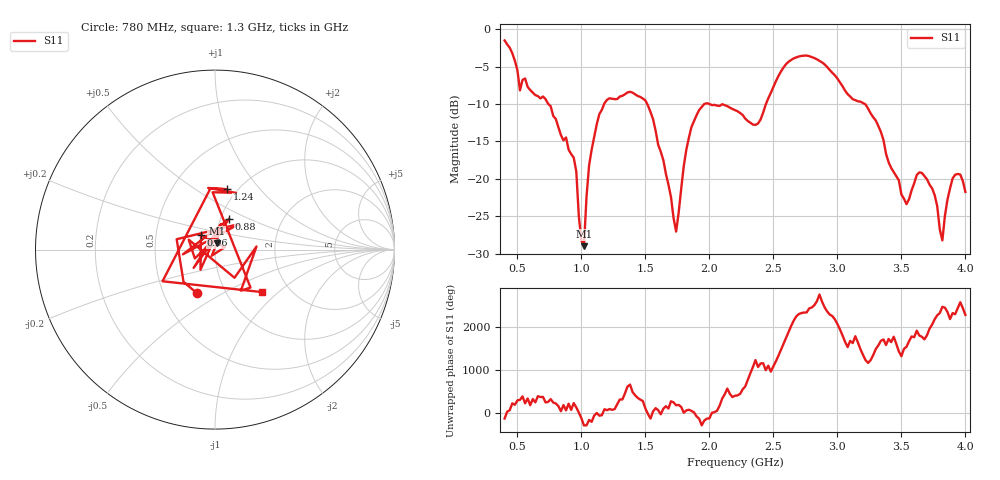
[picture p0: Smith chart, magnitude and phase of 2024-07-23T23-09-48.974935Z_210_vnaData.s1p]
!Created with skrf (http://scikit-rf.org).
# Hz S RI R 50.0
!freq ReS11 ImS11
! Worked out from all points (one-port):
!   181 points, 400 MHz to 4 GHz, reference 50 ohm
!   lowest |S11| = -29.0 dB at 1.02 GHz (marker M1), VSWR 1.07, Z = 50.8 + j3.47 ohm
!   |S11| at or under -10 dB: 1.514 GHz to 1.96 GHz (445.9 MHz wide, 25.7 % of centre); 2.001 GHz to 2.442 GHz (440.9 MHz wide, 19.8 % of centre); 3.214 GHz to end of sweep (the widest 3 of 4)
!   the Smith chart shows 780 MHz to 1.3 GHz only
!   S11 on the Smith chart (normalised r, x): 780 MHz: 0.73, -0.38; 880 MHz: 1.10, +0.39; 960 MHz: 0.85, +0.14; 1.24 GHz: 0.90, +0.68; 1.3 GHz: 1.46, -0.79
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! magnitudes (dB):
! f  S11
! 400 MHz  -1.5
! 520 MHz  -8.2
! 780 MHz  -11.6
! 860 MHz  -14.9
! 880 MHz  -14.5
! 960 MHz  -19.0
! 980 MHz  -25.1
! 1.02 GHz  -29.0
! 1.04 GHz  -22.4
! 1.08 GHz  -16.1
! 1.24 GHz  -9.3
! 1.3 GHz  -9.0
! 1.5 GHz  -9.5
! 1.74 GHz  -27.1
! 1.76 GHz  -24.5
! 1.82 GHz  -16.1
! 1.92 GHz  -10.8
! 2.2 GHz  -10.8
! 2.38 GHz  -12.6
! 2.66 GHz  -3.9
! 3.1 GHz  -9.0
! 3.3 GHz  -12.2
! 3.56 GHz  -22.7
! 3.66 GHz  -19.2
! 3.76 GHz  -22.2
! 3.82 GHz  -28.2
! 3.9 GHz  -20.0
! 4 GHz  -21.8
